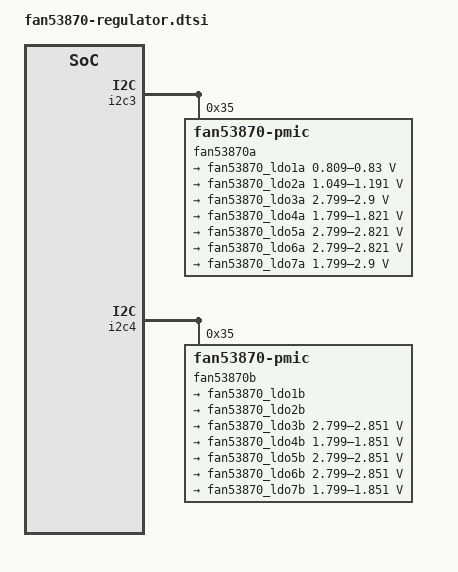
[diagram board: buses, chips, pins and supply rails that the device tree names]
// SPDX-License-Identifier: GPL-2.0
/*
 * Copyright (C) 2021 MediaTek Inc.
 */

&pio {
	fan53870a_default: state_default_a {
		pins_cmd_dat {
			pinmux = <PINMUX_GPIO188__FUNC_GPIO188>;
		};
	};
	// gpio205 pull up to enable dvdd supply
	fan53870a_reset_high: state_reset_high_a {
		pins_cmd_dat {
			pinmux = <PINMUX_GPIO205__FUNC_GPIO205>,
				<PINMUX_GPIO188__FUNC_GPIO188>;
			slew-rate = <1>;
			output-high;
		};
	};
	fan53870a_reset_low: state_reset_low_a {
		pins_cmd_dat {
			pinmux = <PINMUX_GPIO188__FUNC_GPIO188>;
			slew-rate = <1>;
			output-low;
		};
	};
	fan53870b_default: state_default_b {
		pins_cmd_dat {
			pinmux = <PINMUX_GPIO204__FUNC_GPIO204>;
		};
	};
	fan53870b_reset_high: state_reset_high_b {
		pins_cmd_dat {
			pinmux = <PINMUX_GPIO204__FUNC_GPIO204>;
			slew-rate = <1>;
			output-high;
		};
	};
	fan53870b_reset_low: state_reset_low_b {
		pins_cmd_dat {
			pinmux = <PINMUX_GPIO204__FUNC_GPIO204>;
			slew-rate = <1>;
			output-low;
		};
	};
};

&i2c3 {
	fan53870a@35 {
		compatible = "fan53870-pmic";
		reg = <0x35>;
		//vin12-supply = <&gpio205_regulator>;
		pinctrl-names = "default", "reset_high", "reset_low";
		pinctrl-0 = <&fan53870a_default>;
		pinctrl-1 = <&fan53870a_reset_high>;
		pinctrl-2 = <&fan53870a_reset_low>;
		regulators {
			fan53870_ldo1a:ONLDO1 {
				regulator-name = "fan53870_ldo1a";
				regulator-min-microvolt = <809000>;
				regulator-max-microvolt = <830000>;
			};
			fan53870_ldo2a:ONLDO2 {
				regulator-name = "fan53870_ldo2a";
				regulator-min-microvolt = <1049000>;
				regulator-max-microvolt = <1191000>;
			};
			fan53870_ldo3a:ONLDO3 {
				regulator-name = "fan53870_ldo3a";
				regulator-min-microvolt = <2799000>;
				regulator-max-microvolt = <2900000>;
			};
			fan53870_ldo4a:ONLDO4 {
				regulator-name = "fan53870_ldo4a";
				regulator-min-microvolt = <1799000>;
				regulator-max-microvolt = <1821000>;
			};
			fan53870_ldo5a:ONLDO5 {
				regulator-name = "fan53870_ldo5a";
				regulator-min-microvolt = <2799000>;
				regulator-max-microvolt = <2821000>;
			};
			fan53870_ldo6a:ONLDO6 {
				regulator-name = "fan53870_ldo6a";
				regulator-min-microvolt = <2799000>;
				regulator-max-microvolt = <2821000>;
			};
			fan53870_ldo7a:ONLDO7 {
				regulator-name = "fan53870_ldo7a";
				regulator-min-microvolt = <1799000>;
				regulator-max-microvolt = <2900000>;
			};
		};
	};
};

&i2c4 {
	fan53870b@35 {
		compatible = "fan53870-pmic";
		reg = <0x35>;
		pinctrl-names = "default", "reset_high", "reset_low";
		pinctrl-0 = <&fan53870b_default>;
		pinctrl-1 = <&fan53870b_reset_high>;
		pinctrl-2 = <&fan53870b_reset_low>;

		regulators {
			fan53870_ldo1b:ONLDO1 {
				regulator-name = "fan53870_ldo1b";
			};
			fan53870_ldo2b:ONLDO2 {
				regulator-name = "fan53870_ldo2b";
			};
			fan53870_ldo3b:ONLDO3 {
				regulator-name = "fan53870_ldo3b";
				regulator-min-microvolt = <2799000>;
				regulator-max-microvolt = <2851000>;
			};
			fan53870_ldo4b:ONLDO4 {
				regulator-name = "fan53870_ldo4b";
				regulator-min-microvolt = <1799000>;
				regulator-max-microvolt = <1851000>;
			};
			fan53870_ldo5b:ONLDO5 {
				regulator-name = "fan53870_ldo5b";
				regulator-min-microvolt = <2799000>;
				regulator-max-microvolt = <2851000>;
			};
			fan53870_ldo6b:ONLDO6 {
				regulator-name = "fan53870_ldo6b";
				regulator-min-microvolt = <2799000>;
				regulator-max-microvolt = <2851000>;
			};
			fan53870_ldo7b:ONLDO7 {
				regulator-name = "fan53870_ldo7b";
				regulator-min-microvolt = <1799000>;
				regulator-max-microvolt = <1851000>;
			};
		};
	};
};
